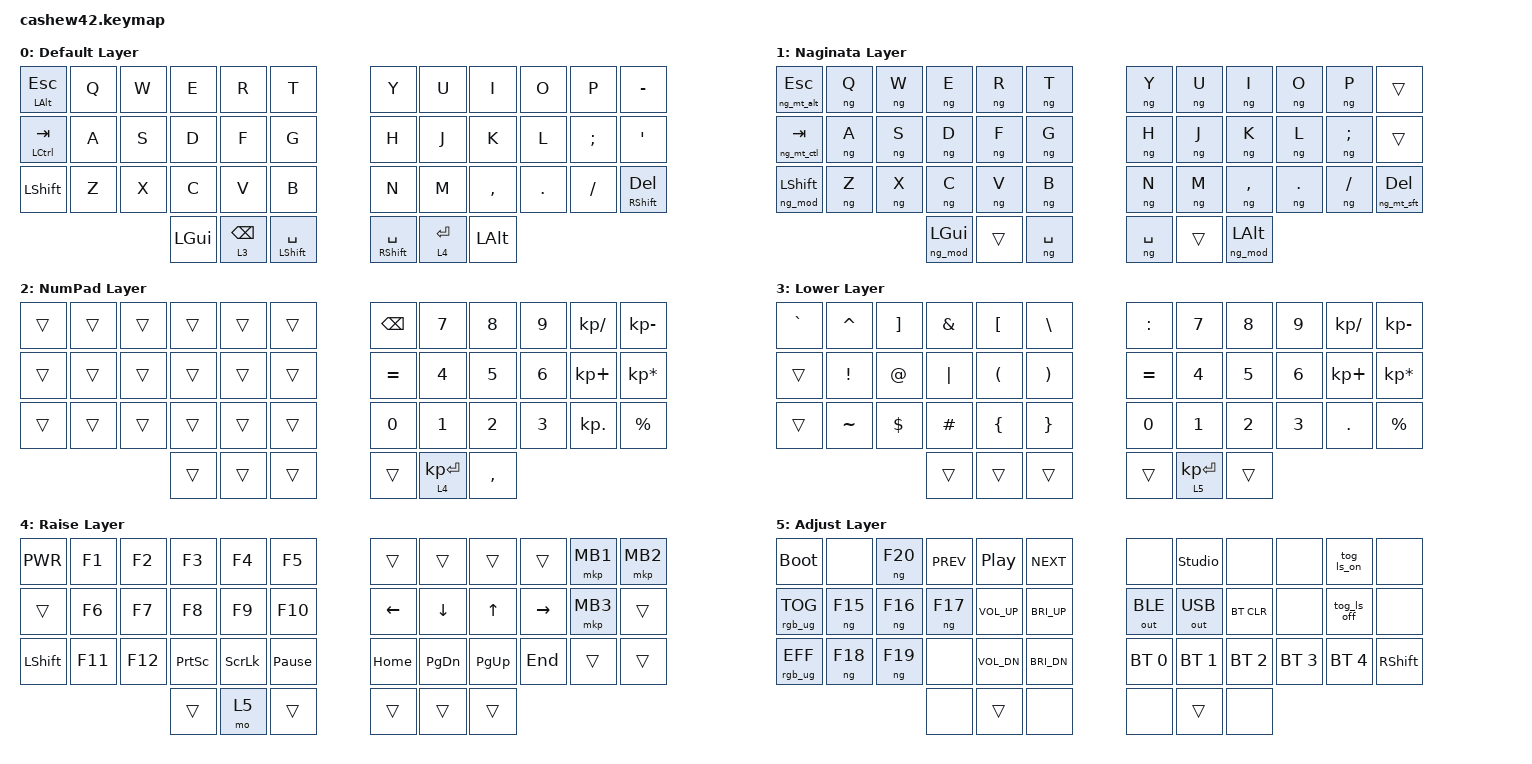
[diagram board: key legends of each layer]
/*
 * Copyright (c) 2026 Satoru NAKAYA
 *
 * SPDX-License-Identifier: MIT
 */

#include <behaviors.dtsi>
#include <dt-bindings/zmk/keys.h>
#include <dt-bindings/zmk/pointing.h>
#include <dt-bindings/zmk/rgb.h>
#include <dt-bindings/zmk/bt.h>
#include <dt-bindings/zmk/outputs.h>
#include <behaviors/naginata.dtsi>
#include <layout_shift_kp_override.dtsi>

&lt {
    flavor = "hold-preferred";
    quick-tap-ms = <200>;
};
&mt { quick-tap-ms = <200>; };

/ {
    aliases {
        led-red = &led0;
        led-green = &led1;
        led-blue = &led2;
    };

    leds {
        status = "okay";
    };

    behaviors {
        tog_on: toggle_layer_on_only {
            compatible = "zmk,behavior-toggle-layer";
            #binding-cells = <1>;
            display-name = "Toggle Layer On";
            toggle-mode = "on";
        };
        tog_off: toggle_layer_off_only {
            compatible = "zmk,behavior-toggle-layer";
            #binding-cells = <1>;
            display-name = "Toggle Layer Off";
            toggle-mode = "off";
        };
    };

    macros {
        tog_numpad: tog_numpad {
            compatible = "zmk,behavior-macro";
            #binding-cells = <0>;
            bindings
                = <&macro_tap &ng OUT &kp LANGUAGE_2 &tog_off 1 &tog 2>
                ;
        };
        ng_on: ng_on {
            compatible = "zmk,behavior-macro";
            #binding-cells = <0>;
            bindings
                = <&macro_tap &kp LANGUAGE_1 &tog_on 1 &tog_off 2>
                ;
        };
        ng_off: ng_off {
            compatible = "zmk,behavior-macro";
            #binding-cells = <0>;
            bindings
                = <&macro_tap &ng OUT &kp LANGUAGE_2 &tog_off 1 &tog_off 2>
                ;
        };
        ng_mod: ng_mod {
            compatible = "zmk,behavior-macro-one-param";
            wait-ms = <0>;
            tap-ms = <0>;
            #binding-cells = <1>;
            bindings
                = <&macro_tap &ng OUT>
                , <&macro_press &tog 1 >
                , <&macro_param_1to1>
                , <&macro_press &kp MACRO_PLACEHOLDER>
                , <&macro_pause_for_release>
                , <&macro_param_1to1>
                , <&macro_release &kp MACRO_PLACEHOLDER>
                , <&macro_press &tog 1 >
                ;
        };
        ng_mt_sft: ng_mt_sft {
            compatible = "zmk,behavior-macro-one-param";
            wait-ms = <0>;
            tap-ms = <0>;
            #binding-cells = <1>;
            bindings
                = <&macro_tap &ng OUT>
                , <&macro_press &tog 1 >
                , <&macro_param_1to2>
                , <&macro_press &mt RSHFT MACRO_PLACEHOLDER>
                , <&macro_pause_for_release>
                , <&macro_param_1to2>
                , <&macro_release &mt RSHFT MACRO_PLACEHOLDER>
                , <&macro_press &tog 1 >
                ;
        };
        ng_mt_ctl: ng_mt_ctl {
            compatible = "zmk,behavior-macro-one-param";
            wait-ms = <0>;
            tap-ms = <0>;
            #binding-cells = <1>;
            bindings
                = <&macro_tap &ng OUT>
                , <&macro_press &tog 1 >
                , <&macro_param_1to2>
                , <&macro_press &mt LCTRL MACRO_PLACEHOLDER>
                , <&macro_pause_for_release>
                , <&macro_param_1to2>
                , <&macro_release &mt LCTRL MACRO_PLACEHOLDER>
                , <&macro_press &tog 1 >
                ;
        };
        ng_mt_alt: ng_mt_alt {
            compatible = "zmk,behavior-macro-one-param";
            wait-ms = <0>;
            tap-ms = <0>;
            #binding-cells = <1>;
            bindings
                = <&macro_tap &ng OUT>
                , <&macro_press &tog 1 >
                , <&macro_param_1to2>
                , <&macro_press &mt LALT MACRO_PLACEHOLDER>
                , <&macro_pause_for_release>
                , <&macro_param_1to2>
                , <&macro_release &mt LALT MACRO_PLACEHOLDER>
                , <&macro_press &tog 1 >
                ;
        };
    };

    combos {
        compatible = "zmk,combos";
        combo_tog_numpad {
            timeout-ms = <300>;
            key-positions = <40 41>;
            bindings = <&tog_numpad>;
            layers = <0 1 2>;
        };
        combo_ng_on {
            timeout-ms = <300>;
            key-positions = <18 19>; // H, Jのキー位置に書き換えてください
            bindings = <&ng_on>;
            layers = <0 2>; // デフォルトレイヤーが0の前提
        };
        combo_ng_off {
            timeout-ms = <300>;
            key-positions = <16 17>; // F, Gのキー位置に書き換えてください
            bindings = <&ng_off>;
            layers = <0 1 2>; // デフォルトレイヤーが0、薙刀式レイヤーが1の前提
        };
    };

    keymap {
        compatible = "zmk,keymap";

        default_layer { // layer 0
            display-name = "Default Layer";
// -----------------------------------------------------------------------------------------
// |OP_ESC |  Q  |  W  |  E  |  R  |  T  |   |  Y  |  U  |  I  |  O  |  P  |   -   |
// |CTL_TAB|  A  |  S  |  D  |  F  |  G  |   |  H  |  J  |  K  |  L  |  ;  |   '   |
// |  SHFT |  Z  |  X  |  C  |  V  |  B  |   |  N  |  M  |  ,  |  .  |  /  |SFT_DEL|
//                  |CM_EISU|LOW_BS| SPC |   | SPC |RAI_ENT|OP_KANA|
            bindings = <
&mt LALT ESC  &kp Q &kp W &kp E &kp R &kp T   &kp Y &kp U  &kp I     &kp O   &kp P    &kp MINUS
&mt LCTRL TAB &kp A &kp S &kp D &kp F &kp G   &kp H &kp J  &kp K     &kp L   &kp SEMI &kp SQT
&kp LSHFT     &kp Z &kp X &kp C &kp V &kp B   &kp N &kp M  &kp COMMA &kp DOT &kp FSLH &mt RSHFT DEL
        &kp LGUI &lt 3 BSPC &mt LSHFT SPACE   &mt RSHFT SPACE &lt 4 RET &kp LALT
            >;
        };

// 薙刀式に必要な31キー(Enterもシフトキーにしたいときは32キー)を定義してください。
// &kpの代わりに&ngを使います。通常はデフォルトレイヤーの次に配置してください(レイヤー番号1)。
        naginata_layer { // layer 1 
            display-name = "Naginata Layer";
// -----------------------------------------------------------------------------------------
// |       |  Q  |  W  |  E  |  R  |  T  |   |  Y  |  U  |  I  |  O  |  P  |       |
// |       |  A  |  S  |  D  |  F  |  G  |   |  H  |  J  |  K  |  L  |  ;  |       |
// |       |  Z  |  X  |  C  |  V  |  B  |   |  N  |  M  |  ,  |  .  |  /  |       |
//                     |     |     | SPC |   | SPC |     |     |
            bindings = <
&ng_mt_alt ESC &ng Q &ng W &ng E &ng R &ng T   &ng Y &ng U  &ng I     &ng O   &ng P    &trans
&ng_mt_ctl TAB &ng A &ng S &ng D &ng F &ng G   &ng H &ng J  &ng K     &ng L   &ng SEMI &trans
&ng_mod LSHFT  &ng Z &ng X &ng C &ng V &ng B   &ng N &ng M  &ng COMMA &ng DOT &ng FSLH &ng_mt_sft DEL
               &ng_mod LGUI &trans &ng SPACE   &ng SPACE &trans &ng_mod LALT
            >;
        };

        numpad_layer {   // layer 2
            display-name = "NumPad Layer";
// -----------------------------------------------------------------------------------------
// |   `   |  ^  |  ]  |  &  |  [  |  \  |   |  BS |  7  |  8  |  9  |  /  |   -   |
// |       |  !  |  @  | "|" |  (  |  )  |   |  =  |  4  |  5  |  6  |  +  |   *   |
// |       |  ~  |  $  |  #  |  {  |  }  |   |  0  |  1  |  2  |  3  |  .  |   %   |
//                     |     |     |     |   |     |ADJ_ENT|   |
            bindings = <
&trans &trans &trans &trans &trans &trans   &kp BSPC  &kp N7 &kp N8 &kp N9 &kp KP_DIVIDE &kp KP_MINUS
&trans &trans &trans &trans &trans &trans   &kp EQUAL &kp N4 &kp N5 &kp N6 &kp KP_PLUS   &kp KP_MULTIPLY
&trans &trans &trans &trans &trans &trans   &kp N0    &kp N1 &kp N2 &kp N3 &kp KP_DOT    &kp PRCNT
                     &trans &trans &trans   &trans    &lt 4 KP_ENTER &kp COMMA
            >;
        };

        lower_layer {   // layer 3
            display-name = "Lower Layer";
// -----------------------------------------------------------------------------------------
// |   `   |  ^  |  ]  |  &  |  [  |  \  |   |  :  |  7  |  8  |  9  |  /  |   -   |
// |       |  !  |  @  | "|" |  (  |  )  |   |  =  |  4  |  5  |  6  |  +  |   *   |
// |       |  ~  |  $  |  #  |  {  |  }  |   |  0  |  1  |  2  |  3  |  .  |   %   |
//                     |     |     |     |   |     |ADJ_ENT|   |
            bindings = <
&kp GRAVE &kp CARET &kp RBKT &kp AMPS &kp LBKT &kp BSLH   &kp COLON &kp N7 &kp N8 &kp N9 &kp KP_DIVIDE &kp KP_MINUS
&trans    &kp EXCL  &kp AT   &kp PIPE &kp LPAR &kp RPAR   &kp EQUAL &kp N4 &kp N5 &kp N6 &kp KP_PLUS   &kp KP_MULTIPLY
&trans    &kp TILDE &kp DLLR &kp HASH &kp LBRC &kp RBRC   &kp N0    &kp N1 &kp N2 &kp N3 &kp DOT       &kp PRCNT
                             &trans   &trans   &trans     &trans    &lt 5 KP_ENTER &trans
            >;
        };

        raise_layer {   // layer 4
            display-name = "Raise Layer";
// -----------------------------------------------------------------------------------------
// |  PWR  |  F1 |  F2 |  F3 |  F4 |  F5 |   |     |     |     |     | LCLK|  RCLK |
// |       |  F6 |  F7 |  F8 |  F9 | F10 |   | LFT | DWN |  UP | RGT | MCLK|       |
// |  SHFT | F11 | F12 | PSCR| SCRL| PAUS|   | HOME| PGWN| PGUP| END |     |       |
//                    |     |ADJUST|     |   |     |     |     |
            bindings = <
&kp K_PWR &kp F1  &kp F2  &kp F3    &kp F4   &kp F5            &trans   &trans    &trans    &trans    &mkp MB1 &mkp MB2
&trans    &kp F6  &kp F7  &kp F8    &kp F9   &kp F10           &kp LEFT &kp DOWN  &kp UP    &kp RIGHT &mkp MB3 &trans
&kp LSHFT &kp F11 &kp F12 &kp PSCRN &kp SLCK &kp PAUSE_BREAK   &kp HOME &kp PG_DN &kp PG_UP &kp END   &trans   &trans
                          &trans    &mo 5    &trans            &trans   &trans    &trans
            >;
        };

        adjust_layer {  // layer 5
            display-name = "Adjust Layer";
// -----------------------------------------------------------------------------------------
// | RESET |       |       |  PREV | PLAY | NEXT |   |       | Unlock|       |       | US2JIS|       |
// |       |NG_WIN |NG_MAC |NG_LNX |VOL_UP|BRI_UP|   |OUT_BLE|OUT_USB| BT_CLR|       | US_KEY|       |
// |       |NG_TATE|NG_YOKO|       |VOL_DN|BRI_DN|   |BT_SEL0|BT_SEL1|BT_SEL2|BT_SEL3|BT_SEL4|  SHFT |
//                         |       |      |      |   |       |       |       |
            bindings = <
&bootloader     &none   &ng F20 &kp C_PREV &kp C_PP     &kp C_NEXT     &none        &studio_unlock &none        &none        &tog_ls_on   &none
&rgb_ug RGB_TOG &ng F15 &ng F16 &ng F17    &kp C_VOL_UP &kp C_BRI_UP   &out OUT_BLE &out OUT_USB   &bt BT_CLR   &none        &tog_ls_off  &none
&rgb_ug RGB_EFF &ng F18 &ng F19 &none      &kp C_VOL_DN &kp C_BRI_DN   &bt BT_SEL 0 &bt BT_SEL 1   &bt BT_SEL 2 &bt BT_SEL 3 &bt BT_SEL 4 &kp RSHFT
                                &none      &trans       &none          &none        &trans         &none
            >;
        };
    };
};
